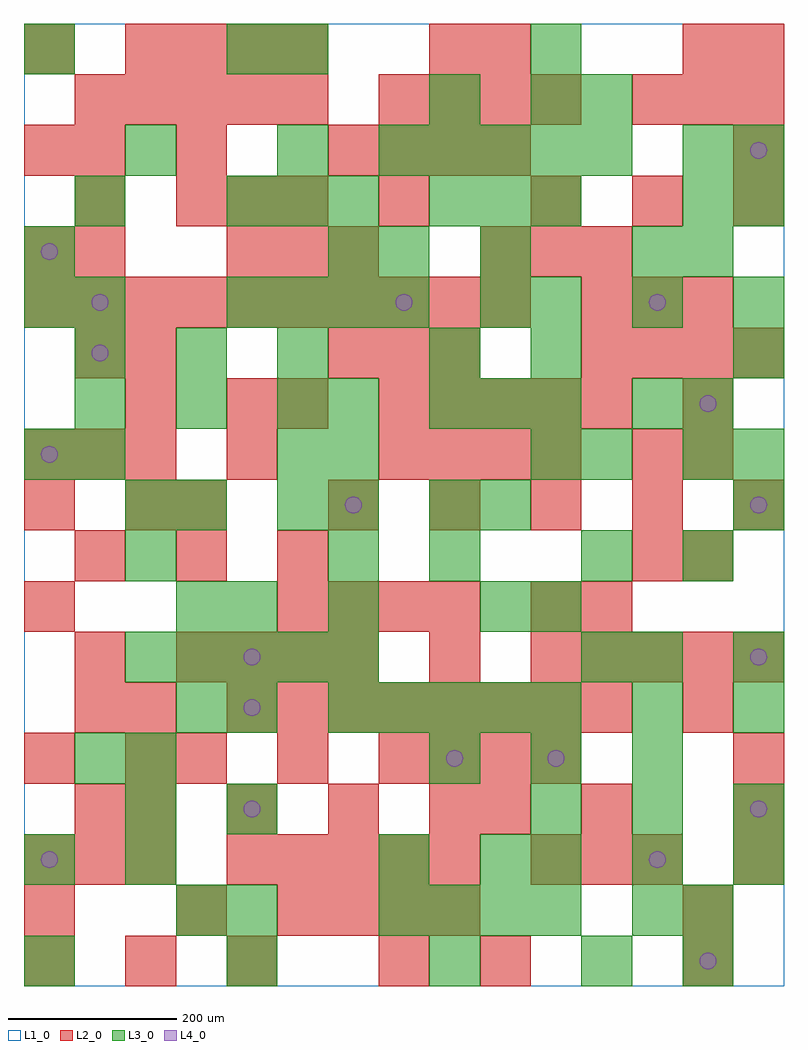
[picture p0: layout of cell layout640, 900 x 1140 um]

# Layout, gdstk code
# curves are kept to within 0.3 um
import gdstk
lib = gdstk.Library(unit=1e-6, precision=1e-09)
def R(c, l, rs):  # rectangles x0, y0, x1, y1
    for r in rs: c.add(gdstk.rectangle(r[:2], r[2:], *l))
def A(c, l, x, y, w, h, nx, ny, dx, dy):  # array of equal rectangles
    R(c, l, [(x+i*dx, y+j*dy, x+i*dx+w, y+j*dy+h) for i in range(nx) for j in range(ny)])
def P(c, l, *ps):  # polygons
    for p in ps: c.add(gdstk.Polygon(p, *l))
L1_0 = (1, 0)
L2_0 = (2, 0)
L3_0 = (3, 0)
L4_0 = (4, 0)

layout640 = lib.new_cell('layout640')
R(layout640, L1_0, [(0,0,900,1140)])
A(layout640, L2_0, 0, 0, 60, 60, 3, 1, 120, 0)
A(layout640, L2_0, 0, 60, 60, 60, 1, 3, 0, 180)
A(layout640, L2_0, 300, 60, 60, 60, 4, 2, 60, 360)
A(layout640, L2_0, 0, 120, 60, 60, 3, 2, 60, 480)
A(layout640, L2_0, 240, 120, 60, 60, 5, 1, 60, 0)
A(layout640, L2_0, 600, 120, 60, 60, 3, 1, 60, 0)
A(layout640, L2_0, 840, 120, 60, 60, 1, 3, 0, 60)
A(layout640, L2_0, 120, 180, 60, 60, 4, 1, 120, 0)
A(layout640, L2_0, 180, 240, 60, 60, 3, 1, 120, 0)
A(layout640, L2_0, 480, 240, 60, 60, 3, 1, 60, 0)
A(layout640, L2_0, 240, 300, 60, 60, 8, 1, 60, 0)
A(layout640, L2_0, 180, 360, 60, 60, 4, 1, 60, 0)
A(layout640, L2_0, 600, 360, 60, 60, 5, 1, 60, 0)
A(layout640, L2_0, 60, 480, 60, 60, 3, 1, 120, 0)
A(layout640, L2_0, 360, 540, 60, 60, 5, 1, 120, 0)
A(layout640, L2_0, 420, 600, 60, 60, 4, 2, 60, 420)
A(layout640, L2_0, 420, 660, 60, 60, 5, 1, 60, 0)
A(layout640, L2_0, 360, 720, 60, 60, 3, 1, 60, 0)
A(layout640, L2_0, 660, 720, 60, 60, 4, 1, 60, 0)
A(layout640, L2_0, 0, 780, 60, 60, 10, 1, 60, 0)
A(layout640, L2_0, 660, 780, 60, 60, 3, 1, 60, 0)
A(layout640, L2_0, 0, 840, 60, 60, 1, 3, 0, 120)
A(layout640, L2_0, 60, 840, 60, 60, 1, 3, 0, 60)
A(layout640, L2_0, 240, 840, 60, 60, 3, 1, 60, 0)
A(layout640, L2_0, 540, 840, 60, 60, 3, 1, 60, 0)
A(layout640, L2_0, 180, 900, 60, 60, 3, 1, 60, 0)
A(layout640, L2_0, 600, 900, 60, 60, 3, 1, 120, 0)
A(layout640, L2_0, 360, 960, 60, 60, 4, 1, 60, 0)
A(layout640, L2_0, 60, 1020, 60, 60, 5, 1, 60, 0)
A(layout640, L2_0, 720, 1020, 60, 60, 3, 1, 60, 0)
A(layout640, L2_0, 120, 1080, 60, 60, 4, 1, 60, 0)
R(layout640, L2_0, [(420,0,480,60), (540,0,600,60), (780,0,840,60), (180,60,240,120), (780,60,840,120), (60,180,120,240), (540,180,600,240), (660,180,720,240), (120,240,180,300), (60,300,120,360), (120,300,180,360), (780,300,840,360), (60,360,120,420), (480,360,540,420), (600,420,660,480), (660,420,720,480), (720,480,780,540), (780,480,840,540), (0,540,60,600), (120,540,180,600), (180,540,240,600), (240,600,300,660), (720,600,780,660), (780,600,840,660), (120,660,180,720), (240,660,300,720), (300,660,360,720), (780,660,840,720), (60,720,120,780), (120,720,180,780), (420,900,480,960), (180,960,240,1020), (840,960,900,1020), (480,1080,540,1140), (540,1080,600,1140), (780,1080,840,1140), (840,1080,900,1140)])
A(layout640, L3_0, 0, 0, 60, 60, 3, 1, 240, 0)
A(layout640, L3_0, 240, 60, 60, 60, 1, 4, 0, 120)
A(layout640, L3_0, 420, 60, 60, 60, 4, 1, 60, 0)
A(layout640, L3_0, 120, 120, 60, 60, 1, 3, 0, 60)
A(layout640, L3_0, 600, 120, 60, 60, 3, 2, 120, 60)
A(layout640, L3_0, 480, 240, 60, 60, 3, 1, 120, 0)
A(layout640, L3_0, 180, 300, 60, 60, 1, 3, 0, 120)
A(layout640, L3_0, 360, 300, 60, 60, 5, 1, 60, 0)
A(layout640, L3_0, 120, 360, 60, 60, 5, 1, 60, 0)
A(layout640, L3_0, 660, 360, 60, 60, 1, 3, 0, 120)
A(layout640, L3_0, 360, 420, 60, 60, 1, 5, 0, 60)
A(layout640, L3_0, 60, 660, 60, 60, 3, 2, 120, 60)
A(layout640, L3_0, 480, 660, 60, 60, 3, 2, 60, 240)
A(layout640, L3_0, 240, 780, 60, 60, 4, 1, 60, 0)
A(layout640, L3_0, 600, 780, 60, 60, 3, 1, 120, 0)
A(layout640, L3_0, 780, 840, 60, 60, 1, 3, 0, 60)
A(layout640, L3_0, 240, 900, 60, 60, 3, 1, 60, 0)
A(layout640, L3_0, 420, 960, 60, 60, 5, 1, 60, 0)
R(layout640, L3_0, [(660,0,720,60), (780,0,840,60), (180,60,240,120), (720,60,780,120), (780,60,840,120), (0,120,60,180), (420,120,480,180), (540,120,600,180), (60,240,120,300), (720,300,780,360), (840,300,900,360), (720,360,780,420), (840,360,900,420), (540,420,600,480), (600,420,660,480), (120,480,180,540), (480,480,540,540), (780,480,840,540), (120,540,180,600), (300,540,360,600), (480,540,540,600), (540,540,600,600), (840,540,900,600), (0,600,60,660), (60,600,120,660), (300,600,360,660), (600,600,660,660), (780,600,840,660), (840,600,900,660), (720,660,780,720), (780,660,840,720), (480,720,540,780), (600,720,660,780), (840,720,900,780), (0,780,60,840), (60,780,120,840), (540,780,600,840), (0,840,60,900), (360,840,420,900), (420,840,480,900), (540,840,600,900), (720,840,780,900), (60,900,120,960), (840,900,900,960), (120,960,180,1020), (300,960,360,1020), (840,960,900,1020), (480,1020,540,1080), (600,1020,660,1080), (660,1020,720,1080), (0,1080,60,1140), (240,1080,300,1140), (300,1080,360,1140), (600,1080,660,1140)])
P(layout640, L4_0, [(40,150),(39.239,153.827),(37.071,157.071),(33.827,159.239),(30,160),(26.173,159.239),(22.929,157.071),(20.761,153.827),(20,150),(20.761,146.173),(22.929,142.929),(26.173,140.761),(30,140),(33.827,140.761),(37.071,142.929),(39.239,146.173)],
  [(40,630),(39.239,633.827),(37.071,637.071),(33.827,639.239),(30,640),(26.173,639.239),(22.929,637.071),(20.761,633.827),(20,630),(20.761,626.173),(22.929,622.929),(26.173,620.761),(30,620),(33.827,620.761),(37.071,622.929),(39.239,626.173)],
  [(40,870),(39.239,873.827),(37.071,877.071),(33.827,879.239),(30,880),(26.173,879.239),(22.929,877.071),(20.761,873.827),(20,870),(20.761,866.173),(22.929,862.929),(26.173,860.761),(30,860),(33.827,860.761),(37.071,862.929),(39.239,866.173)],
  [(100,750),(99.239,753.827),(97.071,757.071),(93.827,759.239),(90,760),(86.173,759.239),(82.929,757.071),(80.761,753.827),(80,750),(80.761,746.173),(82.929,742.929),(86.173,740.761),(90,740),(93.827,740.761),(97.071,742.929),(99.239,746.173)],
  [(100,810),(99.239,813.827),(97.071,817.071),(93.827,819.239),(90,820),(86.173,819.239),(82.929,817.071),(80.761,813.827),(80,810),(80.761,806.173),(82.929,802.929),(86.173,800.761),(90,800),(93.827,800.761),(97.071,802.929),(99.239,806.173)],
  [(280,210),(279.239,213.827),(277.071,217.071),(273.827,219.239),(270,220),(266.173,219.239),(262.929,217.071),(260.761,213.827),(260,210),(260.761,206.173),(262.929,202.929),(266.173,200.761),(270,200),(273.827,200.761),(277.071,202.929),(279.239,206.173)],
  [(280,330),(279.239,333.827),(277.071,337.071),(273.827,339.239),(270,340),(266.173,339.239),(262.929,337.071),(260.761,333.827),(260,330),(260.761,326.173),(262.929,322.929),(266.173,320.761),(270,320),(273.827,320.761),(277.071,322.929),(279.239,326.173)],
  [(280,390),(279.239,393.827),(277.071,397.071),(273.827,399.239),(270,400),(266.173,399.239),(262.929,397.071),(260.761,393.827),(260,390),(260.761,386.173),(262.929,382.929),(266.173,380.761),(270,380),(273.827,380.761),(277.071,382.929),(279.239,386.173)],
  [(400,570),(399.239,573.827),(397.071,577.071),(393.827,579.239),(390,580),(386.173,579.239),(382.929,577.071),(380.761,573.827),(380,570),(380.761,566.173),(382.929,562.929),(386.173,560.761),(390,560),(393.827,560.761),(397.071,562.929),(399.239,566.173)],
  [(460,810),(459.239,813.827),(457.071,817.071),(453.827,819.239),(450,820),(446.173,819.239),(442.929,817.071),(440.761,813.827),(440,810),(440.761,806.173),(442.929,802.929),(446.173,800.761),(450,800),(453.827,800.761),(457.071,802.929),(459.239,806.173)],
  [(520,270),(519.239,273.827),(517.071,277.071),(513.827,279.239),(510,280),(506.173,279.239),(502.929,277.071),(500.761,273.827),(500,270),(500.761,266.173),(502.929,262.929),(506.173,260.761),(510,260),(513.827,260.761),(517.071,262.929),(519.239,266.173)],
  [(640,270),(639.239,273.827),(637.071,277.071),(633.827,279.239),(630,280),(626.173,279.239),(622.929,277.071),(620.761,273.827),(620,270),(620.761,266.173),(622.929,262.929),(626.173,260.761),(630,260),(633.827,260.761),(637.071,262.929),(639.239,266.173)],
  [(760,150),(759.239,153.827),(757.071,157.071),(753.827,159.239),(750,160),(746.173,159.239),(742.929,157.071),(740.761,153.827),(740,150),(740.761,146.173),(742.929,142.929),(746.173,140.761),(750,140),(753.827,140.761),(757.071,142.929),(759.239,146.173)],
  [(760,810),(759.239,813.827),(757.071,817.071),(753.827,819.239),(750,820),(746.173,819.239),(742.929,817.071),(740.761,813.827),(740,810),(740.761,806.173),(742.929,802.929),(746.173,800.761),(750,800),(753.827,800.761),(757.071,802.929),(759.239,806.173)],
  [(820,30),(819.239,33.827),(817.071,37.071),(813.827,39.239),(810,40),(806.173,39.239),(802.929,37.071),(800.761,33.827),(800,30),(800.761,26.173),(802.929,22.929),(806.173,20.761),(810,20),(813.827,20.761),(817.071,22.929),(819.239,26.173)],
  [(820,690),(819.239,693.827),(817.071,697.071),(813.827,699.239),(810,700),(806.173,699.239),(802.929,697.071),(800.761,693.827),(800,690),(800.761,686.173),(802.929,682.929),(806.173,680.761),(810,680),(813.827,680.761),(817.071,682.929),(819.239,686.173)],
  [(880,210),(879.239,213.827),(877.071,217.071),(873.827,219.239),(870,220),(866.173,219.239),(862.929,217.071),(860.761,213.827),(860,210),(860.761,206.173),(862.929,202.929),(866.173,200.761),(870,200),(873.827,200.761),(877.071,202.929),(879.239,206.173)],
  [(880,390),(879.239,393.827),(877.071,397.071),(873.827,399.239),(870,400),(866.173,399.239),(862.929,397.071),(860.761,393.827),(860,390),(860.761,386.173),(862.929,382.929),(866.173,380.761),(870,380),(873.827,380.761),(877.071,382.929),(879.239,386.173)],
  [(880,570),(879.239,573.827),(877.071,577.071),(873.827,579.239),(870,580),(866.173,579.239),(862.929,577.071),(860.761,573.827),(860,570),(860.761,566.173),(862.929,562.929),(866.173,560.761),(870,560),(873.827,560.761),(877.071,562.929),(879.239,566.173)],
  [(880,990),(879.239,993.827),(877.071,997.071),(873.827,999.239),(870,1000),(866.173,999.239),(862.929,997.071),(860.761,993.827),(860,990),(860.761,986.173),(862.929,982.929),(866.173,980.761),(870,980),(873.827,980.761),(877.071,982.929),(879.239,986.173)])

lib.write_gds('layout640.gds')
